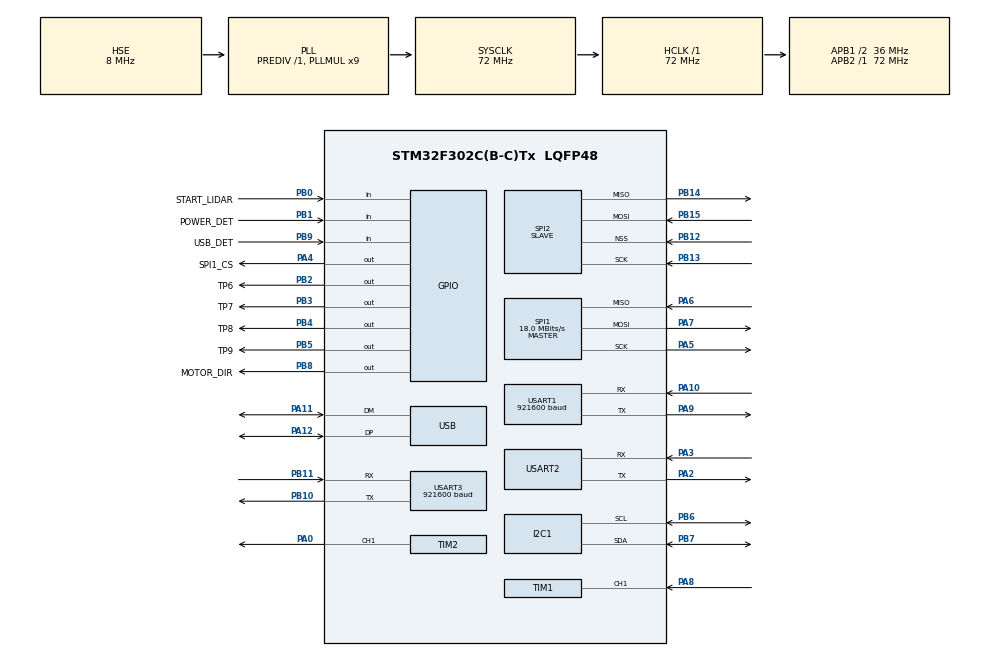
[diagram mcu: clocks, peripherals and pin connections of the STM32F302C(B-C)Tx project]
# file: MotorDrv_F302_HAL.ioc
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Dma.Request0=USART1_TX
Dma.USART1_TX.0.Direction=DMA_MEMORY_TO_PERIPH
Dma.USART1_TX.0.Instance=DMA1_Channel4
Dma.USART1_TX.0.MemDataAlignment=DMA_MDATAALIGN_BYTE
Dma.USART1_TX.0.MemInc=DMA_MINC_ENABLE
Dma.USART1_TX.0.Mode=DMA_NORMAL
Dma.USART1_TX.0.PeriphDataAlignment=DMA_PDATAALIGN_BYTE
Dma.USART1_TX.0.PeriphInc=DMA_PINC_DISABLE
Dma.USART1_TX.0.Priority=DMA_PRIORITY_LOW
I2C1.Speed=100
Mcu.Family=STM32F3
Mcu.Name=STM32F302C(B-C)Tx
Mcu.Package=LQFP48
NVIC.DMA1_Channel4_IRQn=true\:0\:0\:false\:false\:true\:false
NVIC.PriorityGroup=NVIC_PRIORITYGROUP_4
NVIC.SPI2_IRQn=true\:1\:0\:true\:false\:true\:true
NVIC.TIM2_IRQn=true\:0\:0\:false\:false\:true\:true
NVIC.USART1_IRQn=true\:0\:0\:false\:true\:true\:1\:true
NVIC.USB_LP_CAN_RX0_IRQn=true\:0\:0\:false\:false\:true\:false
PA0.Signal=S_TIM2_CH1_ETR
PA10.Mode=Asynchronous
PA10.Signal=USART1_RX
PA11.Mode=Device
PA11.Signal=USB_DM
PA12.Mode=Device
PA12.Signal=USB_DP
PA2.Mode=Asynchronous
PA2.Signal=USART2_TX
PA3.Mode=Asynchronous
PA3.Signal=USART2_RX
PA4.GPIO_Label=SPI1_CS
PA4.GPIO_Speed=GPIO_SPEED_FREQ_HIGH
PA4.Signal=GPIO_Output
PA5.Mode=Full_Duplex_Master
PA5.Signal=SPI1_SCK
PA6.Mode=Full_Duplex_Master
PA6.Signal=SPI1_MISO
PA7.Mode=Full_Duplex_Master
PA7.Signal=SPI1_MOSI
PA8.Signal=S_TIM1_CH1
PA9.Mode=Asynchronous
PA9.Signal=USART1_TX
PB0.GPIO_Label=START_LIDAR
PB0.Signal=GPIO_Input
PB1.GPIO_Label=POWER_DET
PB1.Signal=GPIO_Input
PB10.Mode=Asynchronous
PB10.Signal=USART3_TX
PB11.Mode=Asynchronous
PB11.Signal=USART3_RX
PB12.Mode=NSS_Signal_Hard_Input
PB12.Signal=SPI2_NSS
PB13.Mode=Full_Duplex_Slave
PB13.Signal=SPI2_SCK
PB14.Mode=Full_Duplex_Slave
PB14.Signal=SPI2_MISO
PB15.Mode=Full_Duplex_Slave
PB15.Signal=SPI2_MOSI
PB2.GPIO_Label=TP6
PB2.GPIO_PuPd=GPIO_NOPULL
PB2.GPIO_Speed=GPIO_SPEED_FREQ_HIGH
PB2.PinState=GPIO_PIN_RESET
PB2.Signal=GPIO_Output
PB3.GPIO_Label=TP7
PB3.Signal=GPIO_Output
PB4.GPIO_Label=TP8
PB4.Signal=GPIO_Output
PB5.GPIO_Label=TP9
PB5.Signal=GPIO_Output
PB6.GPIO_PuPdOD=GPIO_NOPULL
PB6.Mode=I2C
PB6.Signal=I2C1_SCL
PB7.GPIO_PuPdOD=GPIO_NOPULL
PB7.Mode=I2C
PB7.Signal=I2C1_SDA
PB8.GPIO_Label=MOTOR_DIR
PB8.GPIO_PuPd=GPIO_PULLDOWN
PB8.Signal=GPIO_Output
PB9.GPIO_Label=USB_DET
PB9.Signal=GPIO_Input
PF0-OSC_IN.Mode=HSE-External-Oscillator
PF0-OSC_IN.Signal=RCC_OSC_IN
PF1-OSC_OUT.Mode=HSE-External-Oscillator
PF1-OSC_OUT.Signal=RCC_OSC_OUT
ProjectManager.HeapSize=0x200
ProjectManager.StackSize=0x400
ProjectManager.TargetToolchain=MDK-ARM V5
RCC.AHBFreq_Value=72000000
RCC.APB1CLKDivider=RCC_HCLK_DIV2
RCC.APB1Freq_Value=36000000
RCC.APB1TimFreq_Value=72000000
RCC.APB2Freq_Value=72000000
RCC.APB2TimFreq_Value=72000000
RCC.CortexFreq_Value=72000000
RCC.HCLKFreq_Value=72000000
RCC.HSE_VALUE=8000000
RCC.HSI_VALUE=8000000
RCC.LSE_VALUE=32768
RCC.PLLMUL=RCC_PLL_MUL9
RCC.PRESCALERUSB=RCC_USBCLKSOURCE_PLL_DIV1_5
RCC.SYSCLKFreq_VALUE=72000000
RCC.SYSCLKSourceVirtual=RCC_SYSCLKSOURCE_PLLCLK
RCC.USBFreq_Value=48000000
RCC.Usart2ClockSelection=RCC_USART2CLKSOURCE_SYSCLK
RCC.Usart3ClockSelection=RCC_USART3CLKSOURCE_SYSCLK
SH.S_TIM1_CH1.0=TIM1_CH1,Input_Capture1_from_TI1
SH.S_TIM2_CH1_ETR.0=TIM2_CH1,PWM Generation1 CH1
SPI1.BaudRatePrescaler=SPI_BAUDRATEPRESCALER_4
SPI1.CLKPhase=SPI_PHASE_2EDGE
SPI1.CalculateBaudRate=18.0 MBits/s
SPI1.DataSize=SPI_DATASIZE_8BIT
SPI1.Direction=SPI_DIRECTION_2LINES
SPI1.Mode=SPI_MODE_MASTER
SPI1.VirtualType=VM_MASTER
SPI2.Direction=SPI_DIRECTION_2LINES
SPI2.Mode=SPI_MODE_SLAVE
SPI2.VirtualNSS=VM_NSSHARD
SPI2.VirtualType=VM_SLAVE
TIM1.Channel-Input_Capture1_from_TI1=TIM_CHANNEL_1
TIM2.Channel-PWM\ Generation1\ CH1=TIM_CHANNEL_1
TIM2.Period=7200
TIM2.Pulse-PWM\ Generation1\ CH1=3600
USART1.BaudRate=921600
USART1.VirtualMode-Asynchronous=VM_ASYNC
USART2.VirtualMode-Asynchronous=VM_ASYNC
USART3.BaudRate=921600
USART3.VirtualMode-Asynchronous=VM_ASYNC
USB_DEVICE.CLASS_NAME_FS=CDC
USB_DEVICE.VirtualMode=Cdc
USB_DEVICE.VirtualModeFS=Cdc_FS
VP_USB_DEVICE_VS_USB_DEVICE_CDC_FS.Mode=CDC_FS
board=MotorDrv_F302_HAL

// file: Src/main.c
/**
  ******************************************************************************
  * @file           : main.c
  * @brief          : Main program body
  ******************************************************************************
  * This notice applies to any and all portions of this file
  * that are not between comment pairs USER CODE BEGIN and
  * USER CODE END. Other portions of this file, whether
  * inserted by the user or by software development tools
  * are owned by their respective copyright owners.
  *
  * Copyright (c) 2018 STMicroelectronics International N.V.
  * All rights reserved.
  *
  * Redistribution and use in source and binary forms, with or without
  * modification, are permitted, provided that the following conditions are met:
  *
  * 1. Redistribution of source code must retain the above copyright notice,
  *    this list of conditions and the following disclaimer.
  * 2. Redistributions in binary form must reproduce the above copyright notice,
  *    this list of conditions and the following disclaimer in the documentation
  *    and/or other materials provided with the distribution.
  * 3. Neither the name of STMicroelectronics nor the names of other
  *    contributors to this software may be used to endorse or promote products
  *    derived from this software without specific written permission.
  * 4. This software, including modifications and/or derivative works of this
  *    software, must execute solely and exclusively on microcontroller or
  *    microprocessor devices manufactured by or for STMicroelectronics.
  * 5. Redistribution and use of this software other than as permitted under
  *    this license is void and will automatically terminate your rights under
  *    this license.
  *
  * THIS SOFTWARE IS PROVIDED BY STMICROELECTRONICS AND CONTRIBUTORS "AS IS"
  * AND ANY EXPRESS, IMPLIED OR STATUTORY WARRANTIES, INCLUDING, BUT NOT
  * LIMITED TO, THE IMPLIED WARRANTIES OF MERCHANTABILITY, FITNESS FOR A
  * PARTICULAR PURPOSE AND NON-INFRINGEMENT OF THIRD PARTY INTELLECTUAL PROPERTY
  * RIGHTS ARE DISCLAIMED TO THE FULLEST EXTENT PERMITTED BY LAW. IN NO EVENT
  * SHALL STMICROELECTRONICS OR CONTRIBUTORS BE LIABLE FOR ANY DIRECT, INDIRECT,
  * INCIDENTAL, SPECIAL, EXEMPLARY, OR CONSEQUENTIAL DAMAGES (INCLUDING, BUT NOT
  * LIMITED TO, PROCUREMENT OF SUBSTITUTE GOODS OR SERVICES; LOSS OF USE, DATA,
  * OR PROFITS; OR BUSINESS INTERRUPTION) HOWEVER CAUSED AND ON ANY THEORY OF
  * LIABILITY, WHETHER IN CONTRACT, STRICT LIABILITY, OR TORT (INCLUDING
  * NEGLIGENCE OR OTHERWISE) ARISING IN ANY WAY OUT OF THE USE OF THIS SOFTWARE,
  * EVEN IF ADVISED OF THE POSSIBILITY OF SUCH DAMAGE.
  *
  ******************************************************************************
  */
#include "main.h"
#include "stm32f3xx_hal.h"
#include "dma.h"
#include "i2c.h"
#include "spi.h"
#include "tim.h"
#include "usart.h"
#include "usb_device.h"
#include "gpio.h"

/* USER CODE BEGIN Includes */
#include "usbd_cdc_if.h"

#include <ctype.h>
#include <string.h>

#define ARG_NUM 10
#define CMD_FUNC_CNT 8
/* USER CODE END Includes */

/* USER CODE BEGIN PV */
/* Private variables ---------------------------------------------------------*/
uint8_t as5048spiTxData[2] = {0xFF,0xFF};
uint8_t as5048spiTxSize = 2;
uint8_t as5048spiRxData[2] = {0x00,0x00};
uint8_t as5048spiOutData[20];
uint16_t as5048angle;
uint16_t as5048preAngle;
uint16_t as5048avgAngle[5];
uint8_t as5048avgCnt = 5;

uint8_t ctrlReg[8] = {
  0x00, 0x00,
  0x01, 0x00,
  0x02, 0x00,
  0x03, 0x00
};

uint8_t speedCtrl1[2] = {0x00,0xFF};
uint8_t speedCtrl2[2] = {0x01,0x80};
uint8_t devCtrl[2] = {0x02,0xB6};
uint8_t eeCtrl[2] = {0x03,0x50};

uint16_t devWriteCmd = 0xA4;
uint16_t devReadCmd = 0xA5;

uint8_t rxBuf[4];
uint8_t rxCmdBuf[21];
uint8_t testCmd[] = {'1','2','3'};
volatile uint8_t rxCmdCnt=0;
volatile uint8_t rxCmdLen=0;
volatile uint8_t sflag=0;

char cmd_cmd[21];
int cmd_arg[ARG_NUM];

typedef struct {
  char const *cmd_name;
  int32_t max_args;
  void (*handle)(int argc,int *cmd_arg);
//  void (*handle)(int argc,void *cmd_arg);
//  void (*handle)(void);
  char  *help;
}cmd_list_struct;
/* USER CODE END PV */

void SystemClock_Config(void);
static void MX_NVIC_Init(void);

/* USER CODE BEGIN PFP */
/* Private function prototypes -----------------------------------------------*/
void simpleDelay(uint16_t delayCnt);
uint8_t drv10983_Read(uint8_t regAddr);

void HAL_SYSTICK_Callback(void);

static int32_t cmd_arg_analyze(uint8_t *rec_buf,unsigned int len);
static int32_t string_to_dec(uint8_t *buf,uint32_t len);

void printf_hello(int argc, int *cmd_arg);
void handle_arg(int argc, int *cmd_arg);
void toggle_led(int argc, int *cmd_arg);
void read_reg_10983(int argc, int *cmd_arg);
void set_speed(int argc, int *cmd_arg);
void set_reg(int argc, int *cmd_arg);
void start_motor(int argc, int *cmd_arg);
void stop_motor(int argc, int *cmd_arg);

void set_pwm(int pulseWidth);
void Motor_SPEED_GPIO_Init(void);
/* USER CODE END PFP */

/* USER CODE BEGIN 0 */
int fputc(int ch, FILE *f)
{
	uint8_t temp = ch;
  HAL_UART_Transmit(&huart1, &temp, 1, 0xFFFF);
	return ch;
}

const cmd_list_struct cmd_list[]={
/* CMD    ARGnum    processfunc       help                         */
{"hello",   0,      printf_hello,   "hello                     -HelloWorld!"},
{"arg",     8,      handle_arg,     "arg<arg1> <arg2> ...      -Test, Print args"},
{"toggleled", 0, toggle_led, "no help" },
{"readreg", 0, read_reg_10983, "Read Drv10983 Regs"},
{"setspeed", 1, set_speed, "Set Motor speed"},
{"setreg", 2, set_reg, "Set DRV10983 Register"},
{"startmotor", 0, start_motor, "wakeup speed pin"},
{"stopmotor", 0, stop_motor, "sleep mode"}
};
/* USER CODE END 0 */

int main(void)
{
  /* USER CODE BEGIN 1 */
  uint8_t spiTxData[4] = {0xFF,0xFF,0xFF,0xFF};
  uint8_t spiTxSize = 2;
  uint8_t spiRxData[4];
	uint8_t spiOutData[10];
  uint16_t spiTimeout = 10;
	uint16_t angle;
  uint16_t preAngle=0;
  uint16_t deltaAngle=0;

  uint8_t enSiData[2] = {0x03,0x40};
  uint8_t i2cData[10] = {0x03,0x40,0x02,0x03,0x04};
  uint8_t i2cTempData[20];
  uint8_t eeprom_program_key[2] = {0x02,0xB6};
	uint8_t eeprom_eeWrite[2] = {0x03,0x50};

  uint16_t size = 3;
  uint32_t timeOut = 0xFFFF;
  uint32_t delay = 200;
  uint16_t speed;
	/*
  uint8_t regWDSet[28] = {
    0x20, 0x4A,  //1101001: 5.57ohm
		0x21, 0x0A,  //0101000: 28mv/hz
    0x22, 0x2A,  //Tdelay
    0x23, 0x00,  //
    0x24, 0x78,
    0x25, 0x3F,
    0x26, 0x08,
    0x27, 0xFC,
    0x28, 0x69,
    0x29, 0x37,
    0x2A, 0x14,
    0x2B, 0x04,
	0x00, 0x10,
	0x01, 0x00				//0x80
  };*/

  uint8_t regWDSet[28] = {
//    0x20, 0x5A,  //1101001: 5.57ohm
    0x20, 0x58,  //9.5 ohm for MY-3514C
//    0x21, 0x5c,  //0101000: 28mv/hz
    0x21, 0x29,  //145RPM/V ?mV/Hz for MY-3514C
//    0x22, 0x4,  //Tdelay
    0x22, 0x04,  //test for MY-3514
    0x23, 0x00,  //
    0x24, 0xc2,
    0x25, 0xff,
    0x26, 0x3c,
    0x27, 0x2,
    0x28, 0xf,
    0x29, 0x17,
    0x2A, 0x4,
    0x2B, 0xc,
    0x00, 0x8F,
    0x01, 0x80
  };

  uint8_t regDftSet[24] = {
    0x20, 0x4A,
    0x21, 0x4E,
    0x22, 0x2A,
    0x23, 0x00,
    0x24, 0x98,
    0x25, 0xE4,
    0x26, 0x7A,
    0x27, 0xFC,
    0x28, 0x69,
    0x29, 0xB7,
    0x2A, 0xAD,
    0x2B, 0x0E
  };

  int i=0;

  /* USER CODE END 1 */

  /* MCU Configuration----------------------------------------------------------*/

  /* Reset of all peripherals, Initializes the Flash interface and the Systick. */
  HAL_Init();

  /* Configure the system clock */
  SystemClock_Config();

  /* Initialize all configured peripherals */
  MX_GPIO_Init();
  MX_DMA_Init();
  MX_I2C1_Init();
  MX_USART3_UART_Init();
  MX_SPI2_Init();
  MX_USART1_UART_Init();
  MX_SPI1_Init();
  MX_TIM2_Init();
  MX_TIM1_Init();
  MX_USART2_UART_Init();
  MX_USB_DEVICE_Init();

  /* Initialize interrupts */
  MX_NVIC_Init();
  /* USER CODE BEGIN 2 */
//  HAL_TIM_Base_Start_IT(&htim2);

//  HAL_TIM_PWM_Start(&htim2, TIM_CHANNEL_1);
  Motor_SPEED_GPIO_Init();

//  HAL_SuspendTick();
  /* test pulse */
  GPIOB->BRR = TP6_Pin;
  __nop();
  __nop();
  GPIOB->BSRR = TP6_Pin;

  //enable Sidata bit 10983
  HAL_I2C_Master_Transmit(&hi2c1, devWriteCmd, enSiData, 2, timeOut);

//	for (i = 0; i < 14; i++)
//	{
//	  HAL_I2C_Master_Transmit(&hi2c1, devWriteCmd, &regWDSet[2*i], 2, timeOut);
//	}

  /* set OverRide to 0, use PWM, forbid i2c SPD ctrl */
//  HAL_I2C_Master_Transmit(&hi2c1, devWriteCmd, regSPDctrl, 2, timeOut);

 // HAL_TIM_PWM_Start(&htim2, TIM_CHANNEL_1);
//  delay = 0x0FFFFFFF;
//  while(delay--){};

//  HAL_I2C_Master_Transmit(&hi2c1, devWriteCmd, eeprom_program_key, 2, timeOut);
//  HAL_I2C_Master_Transmit(&hi2c1, devWriteCmd, eeprom_eeWrite, 2, timeOut);

  HAL_UART_Receive_IT(&huart1, rxBuf, 1);
  printf("Start:\r\n");
  printf("Commands count: %d\r\n", CMD_FUNC_CNT);
  /* USER CODE END 2 */

  /* Infinite loop */
  while (1)
  {

  /* USER CODE BEGIN 3 */
    int j=0;
    int argNum;

    HAL_Delay(4);
//    HAL_UART_Transmit(&huart2, txBuf, 4, 0xFFFF);
    switch(sflag)
    {
      case 0:
        break;
      case 1:
        sflag = 0;
        HAL_UART_Transmit(&huart1, rxCmdBuf+rxCmdCnt-1, 1, 0xFFFF);
        break;
      case 2: //Command received!
        sflag = 0;
        printf("\r\nYour Command is:\r\n");
        HAL_UART_Transmit(&huart1, rxCmdBuf, rxCmdLen, 0xFFFF); // send back command without last '\r'
        printf("\r\n");
        /* Call parser function */
//        if(parser(rxCmdBuf,rxCmdLen))
//        {
//          printf("\r\nOK!");
//        }
//        printf("\r\n");
//        if( 123 == string_to_dec(rxCmdBuf,rxCmdLen) )
//        {
//          printf("Match!\r\n");
//        }
        argNum = cmd_arg_analyze(rxCmdBuf, rxCmdLen);
        for( j=0; j<21; j++)
        {
          cmd_cmd[j]='\0';
        }
        if(!isdigit(rxCmdBuf[0]))
        {
          for(j=0; j<rxCmdLen; j++)
          {
            if( (j>0) && (rxCmdBuf[j]==' ' || rxCmdBuf[j]==0x0D) )
            {
              cmd_cmd[j]='\0';
              break;
            }
            else
            {
              cmd_cmd[j]=rxCmdBuf[j];
            }
          }
          printf("Command:");
          printf("%s\r\n",cmd_cmd);
        }

        printf("ArgNum: %d\r\n", argNum);
        for(j=0; j<argNum; j++)
        {
          printf("Arg%d: %d\r\n", j+1, cmd_arg[j]);
        }
        for( j=0; j<CMD_FUNC_CNT; j++)
        {
          printf("Trying to match Command %d\r\n", j+1);
          if(!strcmp((char *)cmd_cmd, cmd_list[j].cmd_name))
          {
            if( argNum<0 || argNum>cmd_list[j].max_args)
            {
              printf("Too much args!\r\n");
            }
            else
            {
              cmd_list[j].handle(argNum, cmd_arg);
            }
            break;
          }
        }
        break;
      case 3:
        sflag=0;
        printf("\r\nStack OverFlow!!!\r\n");
        break;
      case 4:
        sflag=0;
        printf("\r\nCtrl + c!\r\n");
        break;
    }
  }

//    printf("Test1234567789\n");

//    uint8_t tempAddr = 0x00;
//    GPIOB->BRR = TP6_Pin;
//    __nop();
//    __nop();
//    GPIOB->BSRR = TP6_Pin;
	  /* read regs of drv10983 addr 0x20 - 0x2B */
	//USART1->TDR = 0xFF;

		/*
		    tempAddr = 0x20;
    for (i = 0; i < 12; i++)
    {
      HAL_I2C_Master_Transmit(&hi2c1, devWriteCmd, &tempAddr, 1, timeOut);
      delay = 20;
      while(delay--){};
      HAL_I2C_Master_Receive(&hi2c1, devReadCmd, i2cTempData + i, 1, timeOut);
      // HAL_UART_Transmit(&huart1, i2cTempData + i, 1, timeOut);
      tempAddr += 0x01;
	  USART1->TDR = i2cTempData[i];
	  simpleDelay(200);
    }*/

//		tempAddr = 0x11;
//    for (i = 0; i < 2; i++)
//    {
//      HAL_I2C_Master_Transmit(&hi2c1, devWriteCmd, &tempAddr, 1, timeOut);
//      delay = 20;
//      while(delay--){};
//      HAL_I2C_Master_Receive(&hi2c1, devReadCmd, i2cTempData + i, 1, timeOut);
//      // HAL_UART_Transmit(&huart1, i2cTempData + i, 1, timeOut);
//      tempAddr += 0x01;
//	 // USART1->TDR = i2cTempData[i];
//	  simpleDelay(200);
//    }
//
//		speed = i2cTempData[0]*256 + i2cTempData[1];
//		i2cTempData[0] = (speed/1000)%10+0x30;
//		i2cTempData[1] = (speed/100)%10+0x30;
//		i2cTempData[2] = (speed/10)%10+0x30;
//		i2cTempData[3] = speed%10 +0x30;
//		i2cTempData[4] = 0x0d;
//		i2cTempData[5] = 0x0a;
	//	 HAL_I2C_Master_Transmit(&hi2c1, devWriteCmd, eeprom_program_key, 2, timeOut);
	//	 HAL_I2C_Master_Transmit(&hi2c1, devWriteCmd, eeprom_eeWrite, 2, timeOut);

//    HAL_UART_Transmit(&huart1, i2cTempData, 6, timeOut);

//    tempAddr = 0x20;
//    for (i = 0; i < 12; i++)
//    {
//      i2cTempData[i] = drv10983_Read(tempAddr);
//      tempAddr += 0x01;
//    }
//    HAL_UART_Transmit(&huart1, i2cTempData, 12, timeOut);

	/* read regs of drv10983 addr 0x00 - 0x01 */
//    tempAddr = 0x00;
//    for (i = 0; i < 2; i++)
//    {
//      HAL_I2C_Master_Transmit(&hi2c1, devWriteCmd, &tempAddr, 1, timeOut);
//      delay = 20;
//      while(delay--){};
//      HAL_I2C_Master_Receive(&hi2c1, devReadCmd, i2cTempData + i, 1, timeOut);
//      // HAL_UART_Transmit(&huart1, i2cTempData + i, 1, timeOut);
//      tempAddr += 0x01;
//    }
//     HAL_UART_Transmit(&huart1, i2cTempData, 2, timeOut);

	/* read regs of drv10983 addr 0x10 - 0x1E */
//    tempAddr = 0x00;
//    for (i = 0; i < 14; i++)
//    {
//      HAL_I2C_Master_Transmit(&hi2c1, devWriteCmd, &tempAddr, 1, timeOut);
//      delay = 20;
//      while(delay--){};
//      HAL_I2C_Master_Receive(&hi2c1, devReadCmd, i2cTempData + i, 1, timeOut);
//      // HAL_UART_Transmit(&huart1, i2cTempData + i, 1, timeOut);
//      tempAddr += 0x01;
//    }
//     HAL_UART_Transmit(&huart1, i2cTempData, 12, timeOut);

//    HAL_UART_Transmit_DMA(&huart1, i2cTempData, 12);
    // HAL_I2C_Master_Transmit(&hi2c1, devWriteCmd, i2cTempData, 1, timeOut);
    // delay = 20;
    // while(delay--);
    // delay = 2000;
    // HAL_I2C_Master_Receive(&hi2c1, devReadCmd, i2cTempData, 1, timeOut);
    // HAL_UART_Transmit(&huart1, i2cTempData, 1, timeOut);
//  HAL_I2C_Master_Receive(&hi2c1, (uint16_t)devAddr, i2cData, (uint16_t)size, (uint32_t)timeOut);
//    delay = 0x04FFFFFF;
//    while(delay--){};

//    HAL_GPIO_WritePin(SPI1_CS_GPIO_Port, SPI1_CS_Pin, GPIO_PIN_RESET);
//    delay = 20;
//    while(delay--){};
//    HAL_SPI_TransmitReceive(&hspi1, spiTxData, spiRxData, 2, spiTimeout);
//    delay = 20;
//    while(delay--){};
//    HAL_GPIO_WritePin(SPI1_CS_GPIO_Port, SPI1_CS_Pin, GPIO_PIN_SET);
////    HAL_UART_Transmit(&huart1, spiRxData, spiTxSize, timeOut);
//		spiRxData[0] = spiRxData[0] & ~0xC0;
//		angle = spiRxData[0]*256 + spiRxData[1];
//		deltaAngle = ( angle >= preAngle ) ? ( angle - preAngle ) : ( angle + 16384 -preAngle );
//		preAngle = angle;
//
//		spiOutData[0] = (angle/10000)%10+0x30;
//		spiOutData[1] = (angle/1000)%10+0x30;
//		spiOutData[2] = (angle/100)%10+0x30;
//		spiOutData[3] = (angle/10)%10+0x30;
//		spiOutData[4] = angle%10 +0x30;
//		spiOutData[5] = 0x0d;
//		spiOutData[6] = 0x0a;

//		spiOutData[0] = (deltaAngle/10000)%10+0x30;
//		spiOutData[1] = (deltaAngle/1000)%10+0x30;
//		spiOutData[2] = (deltaAngle/100)%10+0x30;
//		spiOutData[3] = (deltaAngle/10)%10+0x30;
//		spiOutData[4] = deltaAngle%10 +0x30;
//		spiOutData[5] = 0x0d;
//		spiOutData[6] = 0x0a;

//    HAL_UART_Transmit(&huart1, spiOutData, 7, timeOut);

//  }
  /* USER CODE END 3 */

}

void SystemClock_Config(void)
{

  RCC_OscInitTypeDef RCC_OscInitStruct;
  RCC_ClkInitTypeDef RCC_ClkInitStruct;
  RCC_PeriphCLKInitTypeDef PeriphClkInit;

    /**Initializes the CPU, AHB and APB busses clocks
    */
  RCC_OscInitStruct.OscillatorType = RCC_OSCILLATORTYPE_HSI|RCC_OSCILLATORTYPE_HSE;
  RCC_OscInitStruct.HSEState = RCC_HSE_ON;
  RCC_OscInitStruct.HSEPredivValue = RCC_HSE_PREDIV_DIV1;
  RCC_OscInitStruct.HSIState = RCC_HSI_ON;
  RCC_OscInitStruct.HSICalibrationValue = 16;
  RCC_OscInitStruct.PLL.PLLState = RCC_PLL_ON;
  RCC_OscInitStruct.PLL.PLLSource = RCC_PLLSOURCE_HSE;
  RCC_OscInitStruct.PLL.PLLMUL = RCC_PLL_MUL9;
  if (HAL_RCC_OscConfig(&RCC_OscInitStruct) != HAL_OK)
  {
    _Error_Handler(__FILE__, __LINE__);
  }

    /**Initializes the CPU, AHB and APB busses clocks
    */
  RCC_ClkInitStruct.ClockType = RCC_CLOCKTYPE_HCLK|RCC_CLOCKTYPE_SYSCLK
                              |RCC_CLOCKTYPE_PCLK1|RCC_CLOCKTYPE_PCLK2;
  RCC_ClkInitStruct.SYSCLKSource = RCC_SYSCLKSOURCE_PLLCLK;
  RCC_ClkInitStruct.AHBCLKDivider = RCC_SYSCLK_DIV1;
  RCC_ClkInitStruct.APB1CLKDivider = RCC_HCLK_DIV2;
  RCC_ClkInitStruct.APB2CLKDivider = RCC_HCLK_DIV1;

  if (HAL_RCC_ClockConfig(&RCC_ClkInitStruct, FLASH_LATENCY_2) != HAL_OK)
  {
    _Error_Handler(__FILE__, __LINE__);
  }

  PeriphClkInit.PeriphClockSelection = RCC_PERIPHCLK_USB|RCC_PERIPHCLK_USART1
                              |RCC_PERIPHCLK_USART2|RCC_PERIPHCLK_USART3
                              |RCC_PERIPHCLK_I2C1|RCC_PERIPHCLK_TIM1;
  PeriphClkInit.Usart1ClockSelection = RCC_USART1CLKSOURCE_PCLK2;
  PeriphClkInit.Usart2ClockSelection = RCC_USART2CLKSOURCE_SYSCLK;
  PeriphClkInit.Usart3ClockSelection = RCC_USART3CLKSOURCE_SYSCLK;
  PeriphClkInit.I2c1ClockSelection = RCC_I2C1CLKSOURCE_HSI;
  PeriphClkInit.USBClockSelection = RCC_USBCLKSOURCE_PLL_DIV1_5;
  PeriphClkInit.Tim1ClockSelection = RCC_TIM1CLK_HCLK;
  if (HAL_RCCEx_PeriphCLKConfig(&PeriphClkInit) != HAL_OK)
  {
    _Error_Handler(__FILE__, __LINE__);
  }

    /**Configure the Systick interrupt time
    */
  HAL_SYSTICK_Config(HAL_RCC_GetHCLKFreq()/1000);

    /**Configure the Systick
    */
  HAL_SYSTICK_CLKSourceConfig(SYSTICK_CLKSOURCE_HCLK);

  /* SysTick_IRQn interrupt configuration */
  HAL_NVIC_SetPriority(SysTick_IRQn, 0, 0);
}

/**
  * @brief NVIC Configuration.
  * @retval None
  */
static void MX_NVIC_Init(void)
{
  /* USART1_IRQn interrupt configuration */
  HAL_NVIC_SetPriority(USART1_IRQn, 0, 0);
  HAL_NVIC_EnableIRQ(USART1_IRQn);
}

/* USER CODE BEGIN 4 */
void simpleDelay(uint16_t delayCnt)
{
  uint16_t delay = delayCnt;
  while(delay--){};
}

uint8_t drv10983_Read(uint8_t regAddr)
{
  uint8_t tempAddr;
  uint8_t tempData;
  tempAddr = regAddr;
  HAL_I2C_Master_Transmit(&hi2c1, DEVWRITECMD, &tempAddr, 1, 10);
  simpleDelay(20);
  HAL_I2C_Master_Receive(&hi2c1, DEVREADCMD, &tempData, 1, 10);
  return tempData;
}

void HAL_SYSTICK_Callback(void)
{

}

void HAL_TIM_PeriodElapsedCallback(TIM_HandleTypeDef *htim)
{
//  uint16_t as5048angle;
//  uint16_t as5048preAngle;
  uint16_t deltaAngle;
  if( htim == &htim2 )
  {
    HAL_GPIO_WritePin(SPI1_CS_GPIO_Port, SPI1_CS_Pin, GPIO_PIN_RESET);
    simpleDelay(20);
    HAL_SPI_TransmitReceive(&hspi1, as5048spiTxData, as5048spiRxData, 2, 1);
    simpleDelay(20);
    HAL_GPIO_WritePin(SPI1_CS_GPIO_Port, SPI1_CS_Pin, GPIO_PIN_SET);
	as5048spiRxData[0] = as5048spiRxData[0] & 0x3F;
	as5048angle = as5048spiRxData[0]*256 + as5048spiRxData[1];
	deltaAngle = ( as5048angle >= as5048preAngle ) ? ( as5048angle - as5048preAngle ) : ( as5048angle + 16384 - as5048preAngle );
//	as5048angle = (uint16_t) (as5048angle/16384.0*36000.0);
	as5048preAngle = as5048angle;
//    deltaAngle = (uint16_t) (deltaAngle/16384.0*10000.0);

//	if(as5048avgCnt==4)
//	{
//	  as5048avgCnt = 0;
//	  as5048angle = ( as5048avgAngle[0] + as5048avgAngle[1] + as5048avgAngle[2] + as5048avgAngle[3] + as5048angle ) / 5;
//    /* Absolute angle output */
//	as5048spiOutData[0] = (as5048angle/10000)%10+0x30;
//	as5048spiOutData[1] = (as5048angle/1000)%10+0x30;
//	as5048spiOutData[2] = (as5048angle/100)%10+0x30;
//	as5048spiOutData[3] = (as5048angle/10)%10+0x30;
//	as5048spiOutData[4] = as5048angle%10 +0x30;
//	as5048spiOutData[5] = 0x0d;
//	as5048spiOutData[6] = 0x0a;
////    HAL_UART_Transmit(&huart1, as5048spiOutData, 7, 2);
//	HAL_UART_Transmit_DMA(&huart1, as5048spiOutData, 7);
//	}
//	else
//	{
//	  as5048avgAngle[as5048avgCnt] = as5048angle;
//	  as5048avgCnt++;
//	}

    /* Absolute angle output */
//	as5048spiOutData[0] = (as5048angle/10000)%10+0x30;
//	as5048spiOutData[1] = (as5048angle/1000)%10+0x30;
//	as5048spiOutData[2] = (as5048angle/100)%10+0x30;
//	as5048spiOutData[3] = (as5048angle/10)%10+0x30;
//	as5048spiOutData[4] = as5048angle%10 +0x30;
//	as5048spiOutData[5] = 0x0d;
//	as5048spiOutData[6] = 0x0a;
////    HAL_UART_Transmit(&huart1, as5048spiOutData, 7, 2);
//	HAL_UART_Transmit_DMA(&huart1, as5048spiOutData, 7);

    /* Rotational speed out put */
	as5048spiOutData[0] = (deltaAngle/10000)%10+0x30;
	as5048spiOutData[1] = (deltaAngle/1000)%10+0x30;
	as5048spiOutData[2] = (deltaAngle/100)%10+0x30;
	as5048spiOutData[3] = (deltaAngle/10)%10+0x30;
	as5048spiOutData[4] = deltaAngle%10+0x30;
	as5048spiOutData[5] = 0x0d;
	as5048spiOutData[6] = 0x0a;
//    HAL_UART_Transmit(&huart1, as5048spiOutData, 7, 2);
    HAL_UART_Transmit_DMA(&huart1, as5048spiOutData, 7);
  }
//  HAL_GPIO_WritePin(TP1_GPIO_Port, TP1_Pin, GPIO_PIN_SET);
//  HAL_GPIO_WritePin(TP1_GPIO_Port, TP1_Pin, GPIO_PIN_RESET);
}

void set_pwm(int pulseWidth)
{
  TIM_MasterConfigTypeDef sMasterConfig;
  TIM_OC_InitTypeDef sConfigOC;

  htim2.Instance = TIM2;
  htim2.Init.Prescaler = 0;
  htim2.Init.CounterMode = TIM_COUNTERMODE_UP;
  htim2.Init.Period = 7200;
  htim2.Init.ClockDivision = TIM_CLOCKDIVISION_DIV1;
  htim2.Init.AutoReloadPreload = TIM_AUTORELOAD_PRELOAD_DISABLE;
  if (HAL_TIM_PWM_Init(&htim2) != HAL_OK)
  {
    _Error_Handler(__FILE__, __LINE__);
  }

  sMasterConfig.MasterOutputTrigger = TIM_TRGO_RESET;
  sMasterConfig.MasterSlaveMode = TIM_MASTERSLAVEMODE_DISABLE;
  if (HAL_TIMEx_MasterConfigSynchronization(&htim2, &sMasterConfig) != HAL_OK)
  {
    _Error_Handler(__FILE__, __LINE__);
  }

  sConfigOC.OCMode = TIM_OCMODE_PWM1;
  sConfigOC.Pulse = pulseWidth;
  sConfigOC.OCPolarity = TIM_OCPOLARITY_HIGH;
  sConfigOC.OCFastMode = TIM_OCFAST_DISABLE;
  if (HAL_TIM_PWM_ConfigChannel(&htim2, &sConfigOC, TIM_CHANNEL_1) != HAL_OK)
  {
    _Error_Handler(__FILE__, __LINE__);
  }

  HAL_TIM_MspPostInit(&htim2);

}

void HAL_UART_RxCpltCallback(UART_HandleTypeDef *huart)
{
  HAL_UART_Receive_IT(&huart1, rxBuf, 1);
  rxCmdBuf[rxCmdCnt] = rxBuf[0];
  rxCmdCnt++;
  if( 20 == rxCmdCnt )
  {
    rxCmdCnt = 0;
    sflag = 3;
  }

  else
  {
    switch(rxCmdBuf[rxCmdCnt-1])
    {
      case 0x0D:  //enter
        rxCmdLen = rxCmdCnt - 1;
        rxCmdCnt = 0;
        sflag = 2;
        break;
      case 0x03:  //ctrl+c
        rxCmdCnt = 0;
        sflag = 4;
        break;
      case 0x08:  //backspace
        if(rxCmdCnt>=1)
        {
          rxCmdBuf[rxCmdCnt] = 0;
          rxCmdCnt--;
        }
        sflag = 0;
        break;
      default:
        sflag = 1;
        break;
    }
  }
}

static int32_t cmd_arg_analyze(uint8_t *rec_buf,unsigned int len)
{
  uint32_t i;
  uint32_t blank_space_flag=0;
  uint32_t arg_num=0;
  uint32_t index[ARG_NUM];

  for(i=0;i<len;i++)
  {
    if(rec_buf[i]==0x20)
    {
      blank_space_flag=1;
      continue;
    }
    else if(rec_buf[i]==0x0D)
    {
      break;
    }
    else
    {
      if(blank_space_flag==1)
      {
        blank_space_flag=0;
        if(arg_num < ARG_NUM)
        {
          index[arg_num]=i;
          arg_num++;
        }
        else
        {
          return -1;
        }
      }
    }
  }

    for(i=0;i<arg_num;i++)
    {
        cmd_arg[i]=string_to_dec((unsigned char *)(rec_buf+index[i]),len-index[i]);
    }
    return arg_num;
}

static int32_t string_to_dec(uint8_t *buf,uint32_t len)
{
  uint32_t i=0;
  uint32_t base=10;
  int32_t neg=1;
  int32_t result=0;

  if((buf[0]=='0')&&(buf[1]=='x'))
  {
    base=16;
    neg=1;
    i=2;
  }
  else if(buf[0]=='-')
  {
    base=10;
    neg=-1;
    i=1;
  }
  for(;i<len;i++)
  {
    if(buf[i]==0x20 || buf[i]==0x0D)
    {
      break;
    }

    result *= base;
    if(isdigit(buf[i]))
    {
      result += buf[i]-'0';
    }
    else if(isxdigit(buf[i]))
    {
      result+=tolower(buf[i])-87;
    }
    else
    {
      result += buf[i]-'0';
    }
  }
  result *= neg;

  return result;
}

void printf_hello(int argc,int *cmd_arg)
{
  printf("Hello\r\n");
}

void handle_arg(int argc, int *cmd_arg)
{
  int i=0;
  for( i=0; i<argc; i++ )
  {
    printf("%d\r\n",cmd_arg[i]);
  }
}

void toggle_led(int argc, int *cmd_arg)
{
  HAL_GPIO_TogglePin(TP6_GPIO_Port, TP6_Pin);
}

void read_reg_10983(int argc, int *cmd_arg)
{
  printf("Drv10983 Reg:\r\n");
  int i;
  int delay;
  uint8_t i2cTempData[24];
  uint8_t tempAddr = 0x00;
  /* read regs of drv10983 addr 0x20 - 0x2B */

  tempAddr = 0x20;
  for (i = 0; i < 12; i++)
  {
    HAL_I2C_Master_Transmit(&hi2c1, devWriteCmd, &tempAddr, 1, 0xFFFF);
    delay = 20;
    while(delay--){};
    HAL_I2C_Master_Receive(&hi2c1, devReadCmd, &i2cTempData[i], 1, 0xFFFF);
    // HAL_UART_Transmit(&huart1, i2cTempData + i, 1, timeOut);
    tempAddr += 0x01;

    simpleDelay(200);
  }
  for(i = 0; i < 12; i++)
  {
    printf("Reg 0x%02X:  0x%02X\r\n", i+0x20, i2cTempData[i]);
  }

  tempAddr = 0x00;
  for (i = 0; i < 4; i++)
  {
    HAL_I2C_Master_Transmit(&hi2c1, devWriteCmd, &tempAddr, 1, 0xFFFF);
    delay = 20;
    while(delay--){};
    HAL_I2C_Master_Receive(&hi2c1, devReadCmd, &i2cTempData[i], 1, 0xFFFF);
    // HAL_UART_Transmit(&huart1, i2cTempData + i, 1, timeOut);
    tempAddr += 0x01;

    simpleDelay(200);
  }
  for(i = 0; i < 4; i++)
  {
    printf("Reg 0x%02X:  0x%02X\r\n", i, i2cTempData[i]);
  }

  tempAddr = 0x10;
  for (i = 0; i < 15; i++)
  {
    HAL_I2C_Master_Transmit(&hi2c1, devWriteCmd, &tempAddr, 1, 0xFFFF);
    delay = 20;
    while(delay--){};
    HAL_I2C_Master_Receive(&hi2c1, devReadCmd, &i2cTempData[i], 1, 0xFFFF);
    // HAL_UART_Transmit(&huart1, i2cTempData + i, 1, timeOut);
    tempAddr += 0x01;

    simpleDelay(200);
  }
  for(i = 0; i < 15; i++)
  {
    printf("Reg 0x%02X:  0x%02X\r\n", i+0x10, i2cTempData[i]);
  }
}

void set_speed(int argc, int *cmd_arg)
{
  printf("Speed: %d\r\n", cmd_arg[0]);  // DEC
//  printf("Speed: %04X\r\n", cmd_arg[0]);  // HEX
  HAL_TIM_PWM_Stop(&htim2, TIM_CHANNEL_1);
  set_pwm(cmd_arg[0]);
  HAL_TIM_PWM_Start(&htim2, TIM_CHANNEL_1);
}

void set_reg(int argc, int *cmd_arg)
{
  printf("Write Address 0x%02X with Data 0x%02X\r\n", cmd_arg[0], cmd_arg[1]);
  uint8_t addr_reg[2];
  addr_reg[0] = cmd_arg[0];
  addr_reg[1] = cmd_arg[1];
  HAL_I2C_Master_Transmit(&hi2c1, devWriteCmd, addr_reg, 2, 0xFFFF);
  printf("OK!\r\n");
}

void Motor_SPEED_GPIO_Init(void)
{
  GPIO_InitTypeDef GPIO_InitStruct;

  /* GPIO Ports Clock Enable */
  __HAL_RCC_GPIOA_CLK_ENABLE();

  /*Configure GPIO pin Output Level */
  HAL_GPIO_WritePin(GPIOA, GPIO_PIN_0, GPIO_PIN_RESET);

  /*Configure GPIO pin : PA0 -> Motor Speed */
  GPIO_InitStruct.Pin = GPIO_PIN_0;
  GPIO_InitStruct.Mode = GPIO_MODE_OUTPUT_PP;
  GPIO_InitStruct.Pull = GPIO_NOPULL;
  GPIO_InitStruct.Speed = GPIO_SPEED_FREQ_HIGH;
  HAL_GPIO_Init(GPIOA, &GPIO_InitStruct);

  /* Set PA0 to LOW */
  HAL_GPIO_WritePin(GPIOA, GPIO_PIN_0, GPIO_PIN_RESET);
}

void start_motor(int argc, int *cmd_arg)
{
  HAL_GPIO_WritePin(GPIOA, GPIO_PIN_0, GPIO_PIN_SET);
  uint8_t addr_reg[2];
  addr_reg[0] = 0x00;
  addr_reg[1] = 0xA0;
  HAL_I2C_Master_Transmit(&hi2c1, devWriteCmd, addr_reg, 2, 0xFFFF);
  addr_reg[0] = 0x01;
  addr_reg[1] = 0x80;
  HAL_I2C_Master_Transmit(&hi2c1, devWriteCmd, addr_reg, 2, 0xFFFF);
  printf("Motor started\r\n");
}

void stop_motor(int argc, int *cmd_arg)
{
  uint8_t addr_reg[2];
  addr_reg[0] = 0x00;
  addr_reg[1] = 0x00;
  HAL_I2C_Master_Transmit(&hi2c1, devWriteCmd, addr_reg, 2, 0xFFFF);
  HAL_GPIO_WritePin(GPIOA, GPIO_PIN_0, GPIO_PIN_RESET);
  printf("Motor stoped\r\n");
}
/* USER CODE END 4 */

void _Error_Handler(char *file, int line)
{
  while(1)
  {
  }
}

/************************ (C) COPYRIGHT STMicroelectronics *****END OF FILE****/
